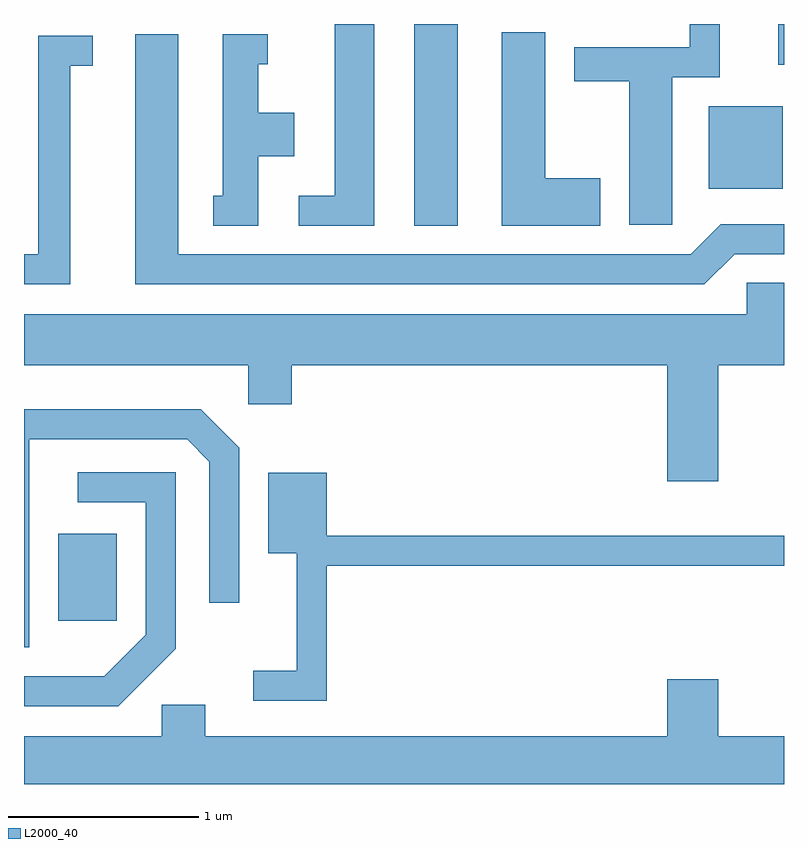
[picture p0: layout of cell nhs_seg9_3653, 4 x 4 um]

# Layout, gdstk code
import gdstk
lib = gdstk.Library(unit=1e-6, precision=1e-09)
def R(c, l, rs):  # rectangles x0, y0, x1, y1
    for r in rs: c.add(gdstk.rectangle(r[:2], r[2:], *l))
def P(c, l, *ps):  # polygons
    for p in ps: c.add(gdstk.Polygon(p, *l))
L2000_40 = (2000, 40)

nhs_seg9_3653 = lib.new_cell('nhs_seg9_3653')
R(nhs_seg9_3653, L2000_40, [(291.791,2059.291,292.099,2059.749), (293.666,2061.371,293.894,2062.432), (295.216,2061.566,295.604,2061.999), (295.581,2062.218,295.611,2062.432)])
P(nhs_seg9_3653, L2000_40, [(293.454,2062.432),(293.246,2062.432),(293.246,2061.529),(293.058,2061.529),(293.058,2061.371),(293.454,2061.371)],
  [(295.024,2062.151),(295.274,2062.151),(295.274,2062.432),(295.116,2062.432),(295.116,2062.309),(294.506,2062.309),(294.506,2062.131),(294.796,2062.131),(294.796,2061.376),(295.024,2061.376)],
  [(294.644,2061.619),(294.354,2061.619),(294.354,2062.389),(294.126,2062.389),(294.126,2061.371),(294.644,2061.371)],
  [(295.352,2061.221),(295.611,2061.221),(295.611,2061.379),(295.279,2061.379),(295.119,2061.219),(292.424,2061.219),(292.424,2062.379),(292.196,2062.379),(292.196,2061.061),(295.192,2061.061)],
  [(292.844,2061.736),(293.034,2061.736),(293.034,2061.964),(292.844,2061.964),(292.844,2062.221),(292.893,2062.221),(292.893,2062.379),(292.656,2062.379),(292.656,2061.529),(292.608,2061.529),(292.608,2061.371),(292.844,2061.371)],
  [(291.854,2062.211),(291.973,2062.211),(291.973,2062.369),(291.686,2062.369),(291.686,2061.219),(291.611,2061.219),(291.611,2061.061),(291.854,2061.061)],
  [(295.264,2060.636),(295.611,2060.636),(295.611,2061.069),(295.416,2061.069),(295.416,2060.904),(291.611,2060.904),(291.611,2060.636),(292.791,2060.636),(292.791,2060.431),(293.019,2060.431),(293.019,2060.636),(294.996,2060.636),(294.996,2060.026),(295.264,2060.026)],
  [(291.639,2060.246),(292.469,2060.246),(292.586,2060.129),(292.586,2059.387),(292.744,2059.387),(292.744,2060.202),(292.542,2060.404),(291.611,2060.404),(291.611,2059.151),(291.639,2059.151)],
  [(292.409,2059.144),(292.409,2060.074),(291.893,2060.074),(291.893,2059.916),(292.251,2059.916),(292.251,2059.217),(292.034,2058.999),(291.611,2058.999),(291.611,2058.841),(292.107,2058.841)],
  [(293.204,2059.581),(295.611,2059.581),(295.611,2059.739),(293.204,2059.739),(293.204,2060.069),(292.896,2060.069),(292.896,2059.646),(293.046,2059.646),(293.046,2059.029),(292.818,2059.029),(292.818,2058.871),(293.204,2058.871)],
  [(295.611,2058.684),(295.264,2058.684),(295.264,2058.984),(294.996,2058.984),(294.996,2058.684),(292.564,2058.684),(292.564,2058.849),(292.336,2058.849),(292.336,2058.684),(291.611,2058.684),(291.611,2058.432),(295.611,2058.432)])

lib.write_gds('nhs_seg9_3653.gds')
